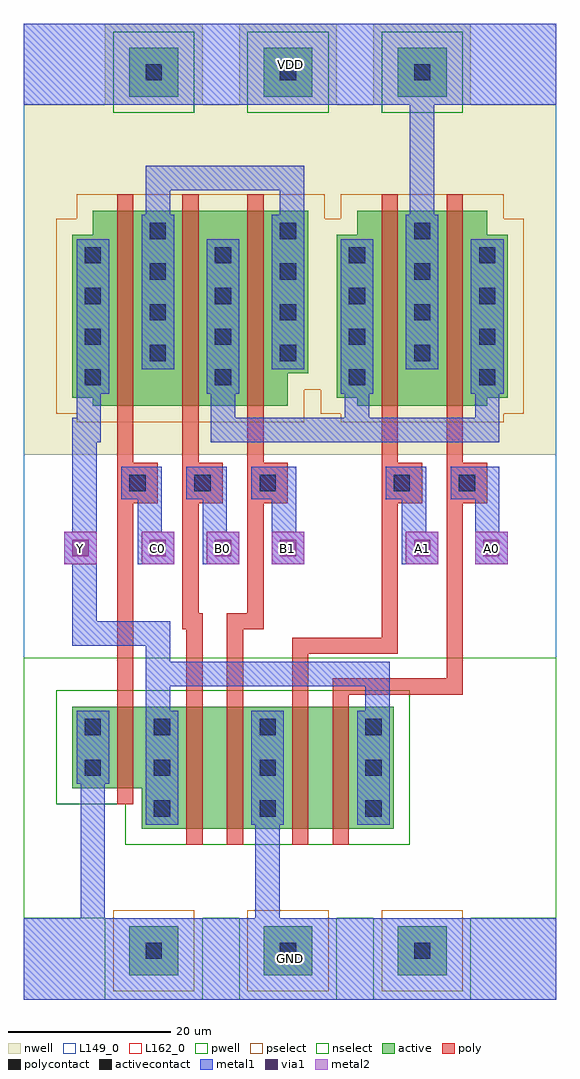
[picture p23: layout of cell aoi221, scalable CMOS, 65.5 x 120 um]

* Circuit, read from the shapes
.subckt aoi221 A0 A1 B0 B1 C0 GND VDD Y
M1 Y C0 GND GND nfet w=10u l=2u
M2 n1 B0 Y GND nfet w=15u l=2u
M3 GND B1 n1 GND nfet w=15u l=2u
M4 n2 A1 GND GND nfet w=15u l=2u
M5 Y A0 n2 GND nfet w=15u l=2u
M6 n3 C0 Y VDD pfet w=24u l=2u
M7 n4 B0 n3 VDD pfet w=24u l=2u
M8 n3 B1 n4 VDD pfet w=24u l=2u
M9 VDD A1 n4 VDD pfet w=24u l=2u
M10 n4 A0 VDD VDD pfet w=24u l=2u
.ends

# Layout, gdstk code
from math import pi, radians
import gdstk
lib = gdstk.Library(unit=1e-6, precision=1e-09)
def R(c, l, rs):  # rectangles x0, y0, x1, y1
    for r in rs: c.add(gdstk.rectangle(r[:2], r[2:], *l))
def A(c, l, x, y, w, h, nx, ny, dx, dy):  # array of equal rectangles
    R(c, l, [(x+i*dx, y+j*dy, x+i*dx+w, y+j*dy+h) for i in range(nx) for j in range(ny)])
def P(c, l, *ps):  # polygons
    for p in ps: c.add(gdstk.Polygon(p, *l))
pwell = (41, 0)
nwell = (42, 0)
active = (43, 0)
pselect = (44, 0)
nselect = (45, 0)
poly = (46, 0)
polycontact = (47, 0)
activecontact = (48, 0)
metal1 = (49, 0)
via1 = (50, 0)
metal2 = (51, 0)
L149_0 = (149, 0)
L162_0 = (162, 0)

nwell_contact = lib.new_cell('nwell_contact')
R(nwell_contact, nwell, [(-6,-5,6,6)])
R(nwell_contact, active, [(-3,-3,3,3)])
R(nwell_contact, nselect, [(-5,-5,5,5)])
R(nwell_contact, activecontact, [(-1,-1,1,1)])

pwell_contact = lib.new_cell('pwell_contact')
R(pwell_contact, pwell, [(-6,-6,6,5)])
R(pwell_contact, active, [(-3,-3,3,3)])
R(pwell_contact, pselect, [(-5,-5,5,5)])
R(pwell_contact, activecontact, [(-1,-1,1,1)])

via = lib.new_cell('via')
R(via, metal1, [(-2,-2,2,2)])
R(via, via1, [(-1,-1,1,1)])
R(via, metal2, [(-2,-2,2,2)])

aoi221 = lib.new_cell('aoi221')
R(aoi221, pwell, [(0,10,65.5,20), (0,10,65.5,42)])
P(aoi221, pwell, [(51.5,15),(51.5,42),(0,42),(0,20),(8.5,20),(8.5,15)])
R(aoi221, nwell, [(0,67,65.5,110), (0,95,65.5,110)])
P(aoi221, nwell, [(63,67),(63,68),(65.5,68),(65.5,100),(63,100),(63,103),(35,103),(35,100),(32.5,100),(32.5,68),(35,68),(35,67)],
  [(2.5,67),(2.5,68),(0,68),(0,100),(2.5,100),(2.5,103),(41,103),(41,71),(38.5,71),(38.5,67)])
R(aoi221, active, [(40,21,45.5,36), (6,26,11.5,36)])
P(aoi221, active, [(57,73),(57,74),(59.5,74),(59.5,94),(57,94),(57,97),(41,97),(41,94),(38.5,94),(38.5,74),(41,74),(41,73)],
  [(44,73),(44,97),(41,97),(41,94),(38.5,94),(38.5,74),(41,74),(41,73)],
  [(57,73),(57,74),(59.5,74),(59.5,94),(57,94),(57,97),(54,97),(54,73)],
  [(29.5,73),(29.5,97),(35,97),(35,77),(32.5,77),(32.5,73)],
  [(8.5,73),(8.5,74),(6,74),(6,94),(8.5,94),(8.5,97),(35,97),(35,77),(32.5,77),(32.5,73)],
  [(8.5,73),(8.5,74),(6,74),(6,94),(8.5,94),(8.5,97),(11.5,97),(11.5,73)],
  [(45.5,21),(45.5,36),(6,36),(6,26),(14.5,26),(14.5,21)])
P(aoi221, pselect, [(59,71),(59,72),(61.5,72),(61.5,96),(59,96),(59,99),(39,99),(39,96),(36.5,96),(36.5,72),(39,72),(39,71)],
  [(6.5,71),(6.5,72),(4,72),(4,96),(6.5,96),(6.5,99),(37,99),(37,75),(34.5,75),(34.5,71)])
P(aoi221, nselect, [(47.5,19),(47.5,38),(4,38),(4,24),(12.5,24),(12.5,19)])
A(aoi221, poly, 11.5, 61, 5, 5, 3, 1, 8, 0)
A(aoi221, poly, 11.5, 71, 2, 2, 3, 2, 8, 26)
A(aoi221, poly, 11.5, 73, 2, 24, 3, 1, 8, 0)
R(aoi221, poly, [(20,19,22,21), (25,19,27,21), (33,19,35,21), (38,19,40,21), (20,21,22,36), (25,21,27,36), (33,21,35,36), (38,21,40,36), (11.5,24,13.5,26), (11.5,26,13.5,36), (11.5,36,13.5,38), (20,36,22,38), (25,36,27,38), (33,36,35,38), (38,36,40,38), (44,61,49,66), (52,61,57,66), (44,71,46,73), (52,71,54,73), (44,73,46,97), (52,73,54,97), (44,97,46,99), (52,97,54,99)])
A(aoi221, polycontact, 13, 62.5, 2, 2, 3, 1, 8, 0)
R(aoi221, polycontact, [(45.5,62.5,47.5,64.5), (53.5,62.5,55.5,64.5)])
A(aoi221, activecontact, 16, 22.5, 2, 2, 3, 3, 13, 5)
A(aoi221, activecontact, 7.5, 75.5, 2, 2, 1, 4, 0, 5)
A(aoi221, activecontact, 23.5, 75.5, 2, 2, 1, 4, 0, 5)
A(aoi221, activecontact, 40, 75.5, 2, 2, 1, 4, 0, 5)
A(aoi221, activecontact, 56, 75.5, 2, 2, 1, 4, 0, 5)
A(aoi221, activecontact, 15.5, 78.5, 2, 2, 1, 4, 0, 5)
A(aoi221, activecontact, 31.5, 78.5, 2, 2, 1, 4, 0, 5)
A(aoi221, activecontact, 48, 78.5, 2, 2, 1, 4, 0, 5)
R(aoi221, activecontact, [(7.5,27.5,9.5,29.5), (7.5,32.5,9.5,34.5)])
A(aoi221, metal1, 15, 21.5, 4, 14, 3, 1, 13, 0)
A(aoi221, metal1, 12, 61.5, 4, 4, 3, 1, 8, 0)
R(aoi221, metal1, [(0,0,65.5,10), (0,0,65.5,10), (6.5,26.5,10.5,35.5), (44.5,61.5,48.5,65.5), (52.5,61.5,56.5,65.5), (6.5,74.5,10.5,93.5), (22.5,74.5,26.5,93.5), (39,74.5,43,93.5), (55,74.5,59,93.5), (14.5,77.5,18.5,96.5), (30.5,77.5,34.5,96.5), (47,77.5,51,96.5), (0,110,65.5,120), (0,110,65.5,120)])
A(aoi221, metal2, 14.5, 53.5, 4, 4, 3, 1, 8, 0)
R(aoi221, metal2, [(5,53.5,9,57.5), (47,53.5,51,57.5), (55.5,53.5,59.5,57.5)])
A(aoi221, L149_0, 12, 61.5, 4, 4, 3, 1, 8, 0)
R(aoi221, L149_0, [(0,0,65.5,10), (0,0,65.5,120), (44.5,61.5,48.5,65.5), (52.5,61.5,56.5,65.5), (0,110,65.5,120)])
A(aoi221, L162_0, 14.5, 53.5, 4, 4, 3, 1, 8, 0)
R(aoi221, L162_0, [(5,53.5,9,57.5), (47,53.5,51,57.5), (55.5,53.5,59.5,57.5)])
aoi221.add(gdstk.FlexPath([(39.5,70),(24.5,70),(24.5,74.5)], 3, ends="flush", simple_path=True, layer=149, datatype=0))  # L149_0
aoi221.add(gdstk.FlexPath([(41,74.5),(41,70),(57,70),(57,74.5)], 3, ends="flush", simple_path=True, layer=149, datatype=0))  # L149_0
aoi221.add(gdstk.FlexPath([(16.5,41.5),(16.5,45),(7.5,45),(7.5,70),(8,70),(8,74.5)], 3, ends="flush", simple_path=True, layer=149, datatype=0))  # L149_0
aoi221.add(gdstk.FlexPath([(15.5,53.5),(15.5,65.5)], 3, ends="flush", simple_path=True, layer=149, datatype=0))  # L149_0
aoi221.add(gdstk.FlexPath([(16.5,96.5),(16.5,101),(33,101),(33,96.5)], 3, ends="flush", simple_path=True, layer=149, datatype=0))  # L149_0
aoi221.add(gdstk.FlexPath([(8.5,26.5),(8.5,10)], 3, ends="flush", simple_path=True, layer=149, datatype=0))  # L149_0
aoi221.add(gdstk.FlexPath([(48,53.5),(48,65.5)], 3, ends="flush", simple_path=True, layer=149, datatype=0))  # L149_0
aoi221.add(gdstk.FlexPath([(32,57.5),(32,65.5)], 3, ends="flush", simple_path=True, layer=149, datatype=0))  # L149_0
aoi221.add(gdstk.FlexPath([(23.5,53.5),(23.5,65.5)], 3, ends="flush", simple_path=True, layer=149, datatype=0))  # L149_0
aoi221.add(gdstk.FlexPath([(57,57.5),(57,65.5)], 3, ends="flush", simple_path=True, layer=149, datatype=0))  # L149_0
aoi221.add(gdstk.FlexPath([(16.5,35.5),(16.5,40),(43.5,40),(43.5,35.5)], 3, ends="flush", simple_path=True, layer=149, datatype=0))  # L149_0
aoi221.add(gdstk.FlexPath([(49,96.5),(49,110)], 3, ends="flush", simple_path=True, layer=149, datatype=0))  # L149_0
aoi221.add(gdstk.FlexPath([(30,21.5),(30,10)], 3, ends="flush", simple_path=True, layer=149, datatype=0))  # L149_0
aoi221.add(gdstk.FlexPath([(20.5,71),(20.5,46.5),(21,46.5),(21,38)], 2, ends="flush", simple_path=True, layer=46, datatype=0))  # poly
aoi221.add(gdstk.FlexPath([(45,71),(45,43.5),(34,43.5),(34,38)], 2, ends="flush", simple_path=True, layer=46, datatype=0))  # poly
aoi221.add(gdstk.FlexPath([(28.5,71),(28.5,46.5),(26,46.5),(26,38)], 2, ends="flush", simple_path=True, layer=46, datatype=0))  # poly
aoi221.add(gdstk.FlexPath([(39,38),(39,38.5),(53,38.5),(53,71)], 2, ends="flush", simple_path=True, layer=46, datatype=0))  # poly
aoi221.add(gdstk.FlexPath([(12.5,71),(12.5,38)], 2, ends="flush", simple_path=True, layer=46, datatype=0))  # poly
aoi221.add(gdstk.FlexPath([(39.5,70),(24.5,70),(24.5,74.5)], 3, ends="flush", simple_path=True, layer=49, datatype=0))  # metal1
aoi221.add(gdstk.FlexPath([(41,74.5),(41,70),(57,70),(57,74.5)], 3, ends="flush", simple_path=True, layer=49, datatype=0))  # metal1
aoi221.add(gdstk.FlexPath([(16.5,41.5),(16.5,45),(7.5,45),(7.5,70),(8,70),(8,74.5)], 3, ends="flush", simple_path=True, layer=49, datatype=0))  # metal1
aoi221.add(gdstk.FlexPath([(15.5,53.5),(15.5,65.5)], 3, ends="flush", simple_path=True, layer=49, datatype=0))  # metal1
aoi221.add(gdstk.FlexPath([(16.5,96.5),(16.5,101),(33,101),(33,96.5)], 3, ends="flush", simple_path=True, layer=49, datatype=0))  # metal1
aoi221.add(gdstk.FlexPath([(8.5,26.5),(8.5,10)], 3, ends="flush", simple_path=True, layer=49, datatype=0))  # metal1
aoi221.add(gdstk.FlexPath([(48,53.5),(48,65.5)], 3, ends="flush", simple_path=True, layer=49, datatype=0))  # metal1
aoi221.add(gdstk.FlexPath([(32,57.5),(32,65.5)], 3, ends="flush", simple_path=True, layer=49, datatype=0))  # metal1
aoi221.add(gdstk.FlexPath([(23.5,53.5),(23.5,65.5)], 3, ends="flush", simple_path=True, layer=49, datatype=0))  # metal1
aoi221.add(gdstk.FlexPath([(57,57.5),(57,65.5)], 3, ends="flush", simple_path=True, layer=49, datatype=0))  # metal1
aoi221.add(gdstk.FlexPath([(49,96.5),(49,110)], 3, ends="flush", simple_path=True, layer=49, datatype=0))  # metal1
aoi221.add(gdstk.FlexPath([(16.5,35.5),(16.5,40),(43.5,40),(43.5,35.5)], 3, ends="flush", simple_path=True, layer=49, datatype=0))  # metal1
aoi221.add(gdstk.FlexPath([(30,21.5),(30,10)], 3, ends="flush", simple_path=True, layer=49, datatype=0))  # metal1
aoi221.add(gdstk.Reference(nwell_contact, (16,114), rotation=pi, x_reflection=True))
aoi221.add(gdstk.Reference(nwell_contact, (49,114), rotation=pi, x_reflection=True))
aoi221.add(gdstk.Reference(nwell_contact, (32.5,114), rotation=pi, x_reflection=True))
aoi221.add(gdstk.Reference(pwell_contact, (32.5,6)))
aoi221.add(gdstk.Reference(pwell_contact, (16,6), rotation=pi, x_reflection=True))
aoi221.add(gdstk.Reference(pwell_contact, (49,6), rotation=pi, x_reflection=True))
aoi221.add(gdstk.Reference(via, (57.5,55.5)))
aoi221.add(gdstk.Reference(via, (24.5,55.5)))
aoi221.add(gdstk.Reference(via, (16.5,55.5)))
aoi221.add(gdstk.Reference(via, (7,55.5)))
aoi221.add(gdstk.Reference(via, (32.5,55.5)))
aoi221.add(gdstk.Reference(via, (49,55.5)))
aoi221.add(gdstk.Label('A1', (49,55.5), layer=3, texttype=0))
aoi221.add(gdstk.Label('A0', (57.5,55.5), layer=3, texttype=0))
aoi221.add(gdstk.Label('C0', (16.5,55.5), layer=3, texttype=0))
aoi221.add(gdstk.Label('B1', (32.5,55.5), layer=3, texttype=0))
aoi221.add(gdstk.Label('B0', (24.5,55.5), layer=3, texttype=0))
aoi221.add(gdstk.Label('Y', (7,55.5), layer=3, texttype=0))
aoi221.add(gdstk.Label('GND', (32.75,5), layer=2, texttype=0))
aoi221.add(gdstk.Label('VDD', (32.75,115), layer=2, texttype=0))

lib.write_gds('aoi221.gds')
